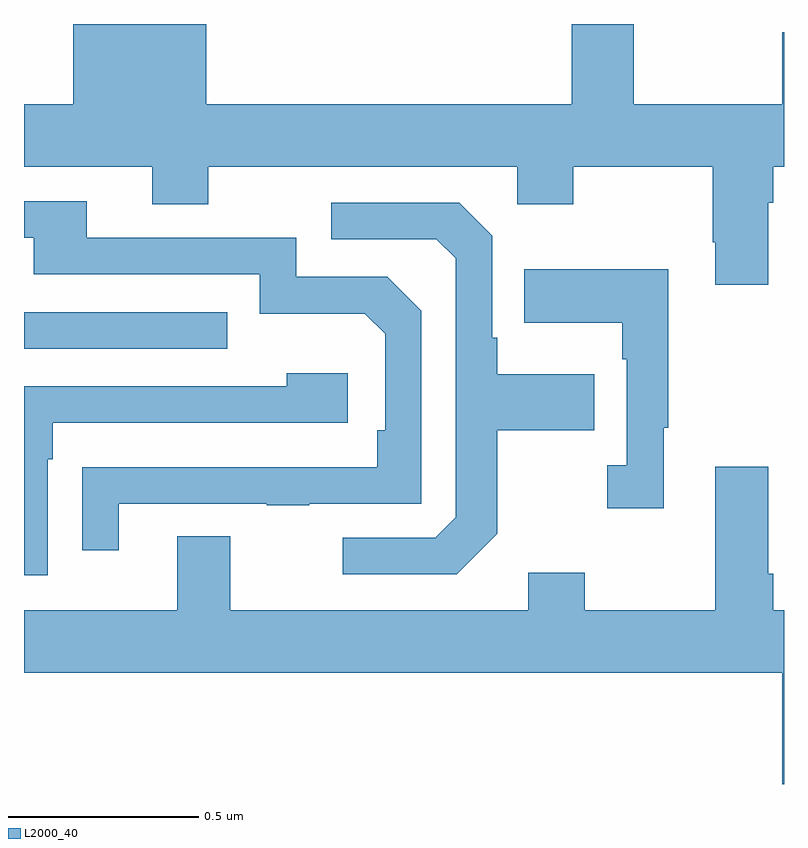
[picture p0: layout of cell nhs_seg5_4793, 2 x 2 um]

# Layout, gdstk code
import gdstk
lib = gdstk.Library(unit=1e-6, precision=1e-09)
def R(c, l, rs):  # rectangles x0, y0, x1, y1
    for r in rs: c.add(gdstk.rectangle(r[:2], r[2:], *l))
def P(c, l, *ps):  # polygons
    for p in ps: c.add(gdstk.Polygon(p, *l))
L2000_40 = (2000, 40)

nhs_seg5_4793 = lib.new_cell('nhs_seg5_4793')
R(nhs_seg5_4793, L2000_40, [(175,858.945,175.535,859.041)])
P(nhs_seg5_4793, L2000_40, [(176.959,859.328),(176.972,859.328),(176.972,859.424),(177,859.424),(177,859.777),(176.996,859.777),(176.996,859.588),(176.605,859.588),(176.605,859.799),(176.441,859.799),(176.441,859.588),(175.48,859.588),(175.48,859.799),(175.13,859.799),(175.13,859.588),(175,859.588),(175,859.424),(175.337,859.424),(175.337,859.325),(175.485,859.325),(175.485,859.424),(176.298,859.424),(176.298,859.325),(176.445,859.325),(176.445,859.424),(176.812,859.424),(176.812,859.225),(176.819,859.225),(176.819,859.113),(176.959,859.113)],
  [(175.249,858.537),(175.639,858.537),(175.639,858.532),(175.751,858.532),(175.751,858.537),(176.046,858.537),(176.046,859.044),(175.956,859.134),(175.716,859.134),(175.716,859.236),(175.165,859.236),(175.165,859.332),(175,859.332),(175,859.236),(175.025,859.236),(175.025,859.14),(175.62,859.14),(175.62,859.037),(175.897,859.037),(175.95,858.984),(175.95,858.73),(175.93,858.73),(175.93,858.633),(175.255,858.633),(175.255,858.632),(175.153,858.632),(175.153,858.414),(175.249,858.414)],
  [(176.245,858.457),(176.245,858.73),(176.501,858.73),(176.501,858.877),(176.245,858.877),(176.245,858.973),(176.232,858.973),(176.232,859.242),(176.145,859.329),(175.809,859.329),(175.809,859.233),(176.085,859.233),(176.136,859.182),(176.136,858.501),(176.082,858.447),(175.839,858.447),(175.839,858.351),(176.139,858.351)],
  [(176.683,858.737),(176.695,858.737),(176.695,859.153),(176.317,859.153),(176.317,859.013),(176.574,859.013),(176.574,858.917),(176.586,858.917),(176.586,858.638),(176.535,858.638),(176.535,858.525),(176.683,858.525)],
  [(175.062,858.653),(175.075,858.653),(175.075,858.75),(175.852,858.75),(175.852,858.88),(175.691,858.88),(175.691,858.846),(175,858.846),(175,858.348),(175.062,858.348)],
  [(177,858.256),(176.972,858.256),(176.972,858.352),(176.959,858.352),(176.959,858.634),(176.819,858.634),(176.819,858.256),(176.475,858.256),(176.475,858.355),(176.327,858.355),(176.327,858.256),(175.543,858.256),(175.543,858.451),(175.403,858.451),(175.403,858.256),(175,858.256),(175,858.092),(176.996,858.092),(176.996,857.799),(177,857.799)])

lib.write_gds('nhs_seg5_4793.gds')
